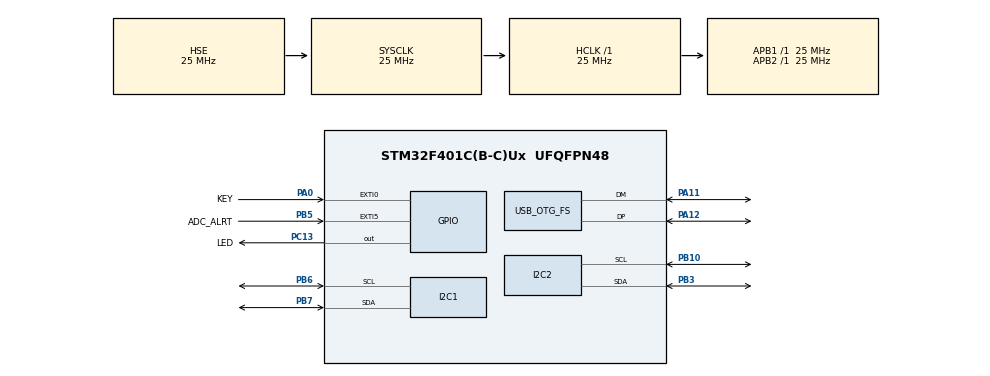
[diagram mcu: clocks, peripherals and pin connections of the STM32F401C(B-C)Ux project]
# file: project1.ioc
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I2C1.I2C_Mode=I2C_Fast
I2C2.I2C_Mode=I2C_Fast
Mcu.Family=STM32F4
Mcu.Name=STM32F401C(B-C)Ux
Mcu.Package=UFQFPN48
NVIC.EXTI0_IRQn=true\:2\:0\:true\:false\:true\:true\:true\:true
NVIC.EXTI9_5_IRQn=true\:3\:0\:true\:false\:true\:true\:true\:false
NVIC.I2C1_ER_IRQn=true\:0\:0\:true\:false\:true\:true\:true\:true
NVIC.I2C2_ER_IRQn=true\:0\:0\:false\:false\:true\:true\:true\:true
NVIC.OTG_FS_IRQn=true\:0\:0\:false\:false\:true\:false\:true\:true
NVIC.PriorityGroup=NVIC_PRIORITYGROUP_4
PA0-WKUP.GPIO_Label=KEY
PA0-WKUP.GPIO_ModeDefaultEXTI=GPIO_MODE_IT_FALLING
PA0-WKUP.GPIO_PuPd=GPIO_PULLUP
PA0-WKUP.Signal=GPXTI0
PA11.Mode=Device_Only
PA11.Signal=USB_OTG_FS_DM
PA12.Mode=Device_Only
PA12.Signal=USB_OTG_FS_DP
PB10.GPIO_Pu=GPIO_PULLUP
PB10.Mode=I2C
PB10.Signal=I2C2_SCL
PB3.GPIO_Pu=GPIO_PULLUP
PB3.Mode=I2C
PB3.Signal=I2C2_SDA
PB5.GPIO_Label=ADC_ALRT
PB5.GPIO_ModeDefaultEXTI=GPIO_MODE_IT_RISING
PB5.GPIO_PuPd=GPIO_PULLUP
PB5.Signal=GPXTI5
PB6.GPIO_Pu=GPIO_PULLUP
PB6.Mode=I2C
PB6.Signal=I2C1_SCL
PB7.GPIO_Pu=GPIO_PULLUP
PB7.Mode=I2C
PB7.Signal=I2C1_SDA
PC13-ANTI_TAMP.GPIO_Label=LED
PC13-ANTI_TAMP.PinState=GPIO_PIN_SET
PC13-ANTI_TAMP.Signal=GPIO_Output
PH0\ -\ OSC_IN.Mode=HSE-External-Oscillator
PH0\ -\ OSC_IN.Signal=RCC_OSC_IN
PH1\ -\ OSC_OUT.Mode=HSE-External-Oscillator
PH1\ -\ OSC_OUT.Signal=RCC_OSC_OUT
ProjectManager.HeapSize=0x600
ProjectManager.StackSize=0x400
ProjectManager.TargetToolchain=STM32CubeIDE
RCC.48MHZClocksFreq_Value=48000000
RCC.AHBFreq_Value=25000000
RCC.APB1Freq_Value=25000000
RCC.APB1TimFreq_Value=25000000
RCC.APB2Freq_Value=25000000
RCC.APB2TimFreq_Value=25000000
RCC.CortexFreq_Value=25000000
RCC.HCLKFreq_Value=25000000
RCC.HSE_VALUE=25000000
RCC.HSI_VALUE=16000000
RCC.LSE_VALUE=32768
RCC.PLLM=15
RCC.PLLN=144
RCC.PLLQ=5
RCC.SYSCLKFreq_VALUE=25000000
RCC.SYSCLKSource=RCC_SYSCLKSOURCE_HSE
RCC.VCOOutputFreq_Value=240000000
USB_DEVICE.CLASS_NAME_FS=CDC
USB_DEVICE.VirtualMode=Cdc
USB_DEVICE.VirtualModeFS=Cdc_FS
USB_OTG_FS.VirtualMode=Device_Only
VP_USB_DEVICE_VS_USB_DEVICE_CDC_FS.Mode=CDC_FS
board=custom

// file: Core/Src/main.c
/* USER CODE BEGIN Header */
/**
  ******************************************************************************
  * @file           : main.c
  * @brief          : Main program body
  ******************************************************************************
  * @attention
  *
  * Copyright (c) 2025 STMicroelectronics.
  * All rights reserved.
  *
  * This software is licensed under terms that can be found in the LICENSE file
  * in the root directory of this software component.
  * If no LICENSE file comes with this software, it is provided AS-IS.
  *
  ******************************************************************************
  */
/* USER CODE END Header */
#include "main.h"
#include "usb_device.h"

/* USER CODE BEGIN Includes */
#include "ADS1115.h"
#include "usbd_cdc_if.h"
/* USER CODE END Includes */

/* USER CODE BEGIN PM */
volatile char TXBuffer[1024];
volatile char RXBuffer[1024];

volatile states_t Stat = {-20000,20000,0,0};
volatile packet_t Packet = {0,"XXX\n"};
volatile packet_t* Pack = &Packet;
/* USER CODE END PM */

I2C_HandleTypeDef hi2c1;
I2C_HandleTypeDef hi2c2;

/* USER CODE BEGIN PV */
ads1115_t ads1;
/* USER CODE END PV */

void SystemClock_Config(void);
static void MX_GPIO_Init(void);
static void MX_I2C1_Init(void);
static void MX_I2C2_Init(void);
/* USER CODE BEGIN PFP */
static void ADS_INIT(ads1115_t* ads);
static void OLED_INIT(void);
/* USER CODE END PFP */

int main(void)
{

  /* MCU Configuration--------------------------------------------------------*/

  /* Reset of all peripherals, Initializes the Flash interface and the Systick. */
  HAL_Init();

  /* Configure the system clock */
  SystemClock_Config();

  /* Initialize all configured peripherals */
  MX_GPIO_Init();
  MX_I2C1_Init();
  MX_USB_DEVICE_Init();
  MX_I2C2_Init();
  /* USER CODE BEGIN 2 */
  OLED_INIT();
  ADS_INIT(&ads1);
  HAL_NVIC_EnableIRQ(ADC_ALRT_EXTI_IRQn);
  /* USER CODE END 2 */

  /* Infinite loop */
  /* USER CODE BEGIN WHILE */
  while (1)
  {
      char msg[12];
      snprintf(msg, 12, "%f", Stat.Vpkpk);
      ssd1306_FillRectangle(0,20,128,32, Black);
      ssd1306_SetCursor(0,20);
      ssd1306_WriteString(msg,Font_7x10,White);
      ssd1306_UpdateScreen();
      Stat.max = 0;
      Stat.min = 0;
    print(msg);
    Stat.max = -20000;
    Stat.min = 20000;
      HAL_Delay(100);
    /* USER CODE END WHILE */

  }
}

void SystemClock_Config(void)
{
  RCC_OscInitTypeDef RCC_OscInitStruct = {0};
  RCC_ClkInitTypeDef RCC_ClkInitStruct = {0};

  /** Configure the main internal regulator output voltage
  */
  __HAL_RCC_PWR_CLK_ENABLE();
  __HAL_PWR_VOLTAGESCALING_CONFIG(PWR_REGULATOR_VOLTAGE_SCALE2);

  /** Initializes the RCC Oscillators according to the specified parameters
  * in the RCC_OscInitTypeDef structure.
  */
  RCC_OscInitStruct.OscillatorType = RCC_OSCILLATORTYPE_HSE;
  RCC_OscInitStruct.HSEState = RCC_HSE_ON;
  RCC_OscInitStruct.PLL.PLLState = RCC_PLL_ON;
  RCC_OscInitStruct.PLL.PLLSource = RCC_PLLSOURCE_HSE;
  RCC_OscInitStruct.PLL.PLLM = 15;
  RCC_OscInitStruct.PLL.PLLN = 144;
  RCC_OscInitStruct.PLL.PLLP = RCC_PLLP_DIV2;
  RCC_OscInitStruct.PLL.PLLQ = 5;
  if (HAL_RCC_OscConfig(&RCC_OscInitStruct) != HAL_OK)
  {
    Error_Handler();
  }

  /** Initializes the CPU, AHB and APB buses clocks
  */
  RCC_ClkInitStruct.ClockType = RCC_CLOCKTYPE_HCLK|RCC_CLOCKTYPE_SYSCLK
                              |RCC_CLOCKTYPE_PCLK1|RCC_CLOCKTYPE_PCLK2;
  RCC_ClkInitStruct.SYSCLKSource = RCC_SYSCLKSOURCE_HSE;
  RCC_ClkInitStruct.AHBCLKDivider = RCC_SYSCLK_DIV1;
  RCC_ClkInitStruct.APB1CLKDivider = RCC_HCLK_DIV1;
  RCC_ClkInitStruct.APB2CLKDivider = RCC_HCLK_DIV1;

  if (HAL_RCC_ClockConfig(&RCC_ClkInitStruct, FLASH_LATENCY_0) != HAL_OK)
  {
    Error_Handler();
  }
}

static void MX_I2C1_Init(void)
{

  hi2c1.Instance = I2C1;
  hi2c1.Init.ClockSpeed = 400000;
  hi2c1.Init.DutyCycle = I2C_DUTYCYCLE_2;
  hi2c1.Init.OwnAddress1 = 0;
  hi2c1.Init.AddressingMode = I2C_ADDRESSINGMODE_7BIT;
  hi2c1.Init.DualAddressMode = I2C_DUALADDRESS_DISABLE;
  hi2c1.Init.OwnAddress2 = 0;
  hi2c1.Init.GeneralCallMode = I2C_GENERALCALL_DISABLE;
  hi2c1.Init.NoStretchMode = I2C_NOSTRETCH_DISABLE;
  if (HAL_I2C_Init(&hi2c1) != HAL_OK)
  {
    Error_Handler();
  }

}

static void MX_I2C2_Init(void)
{

  hi2c2.Instance = I2C2;
  hi2c2.Init.ClockSpeed = 400000;
  hi2c2.Init.DutyCycle = I2C_DUTYCYCLE_2;
  hi2c2.Init.OwnAddress1 = 0;
  hi2c2.Init.AddressingMode = I2C_ADDRESSINGMODE_7BIT;
  hi2c2.Init.DualAddressMode = I2C_DUALADDRESS_DISABLE;
  hi2c2.Init.OwnAddress2 = 0;
  hi2c2.Init.GeneralCallMode = I2C_GENERALCALL_DISABLE;
  hi2c2.Init.NoStretchMode = I2C_NOSTRETCH_DISABLE;
  if (HAL_I2C_Init(&hi2c2) != HAL_OK)
  {
    Error_Handler();
  }

}

static void MX_GPIO_Init(void)
{
  GPIO_InitTypeDef GPIO_InitStruct = {0};

  /* GPIO Ports Clock Enable */
  __HAL_RCC_GPIOC_CLK_ENABLE();
  __HAL_RCC_GPIOH_CLK_ENABLE();
  __HAL_RCC_GPIOA_CLK_ENABLE();
  __HAL_RCC_GPIOB_CLK_ENABLE();

  /*Configure GPIO pin Output Level */
  HAL_GPIO_WritePin(LED_GPIO_Port, LED_Pin, GPIO_PIN_SET);

  /*Configure GPIO pin : LED_Pin */
  GPIO_InitStruct.Pin = LED_Pin;
  GPIO_InitStruct.Mode = GPIO_MODE_OUTPUT_PP;
  GPIO_InitStruct.Pull = GPIO_NOPULL;
  GPIO_InitStruct.Speed = GPIO_SPEED_FREQ_LOW;
  HAL_GPIO_Init(LED_GPIO_Port, &GPIO_InitStruct);

  /*Configure GPIO pin : KEY_Pin */
  GPIO_InitStruct.Pin = KEY_Pin;
  GPIO_InitStruct.Mode = GPIO_MODE_IT_FALLING;
  GPIO_InitStruct.Pull = GPIO_PULLUP;
  HAL_GPIO_Init(KEY_GPIO_Port, &GPIO_InitStruct);

  /*Configure GPIO pin : ADC_ALRT_Pin */
  GPIO_InitStruct.Pin = ADC_ALRT_Pin;
  GPIO_InitStruct.Mode = GPIO_MODE_IT_RISING;
  GPIO_InitStruct.Pull = GPIO_PULLUP;
  HAL_GPIO_Init(ADC_ALRT_GPIO_Port, &GPIO_InitStruct);

  /* EXTI interrupt init*/
  HAL_NVIC_SetPriority(EXTI0_IRQn, 2, 0);
  HAL_NVIC_EnableIRQ(EXTI0_IRQn);

  HAL_NVIC_SetPriority(EXTI9_5_IRQn, 3, 0);

}

/* USER CODE BEGIN 4 */
static void ADS_INIT(ads1115_t* ads) {
    ads->hi2c = &hi2c1;
    ads->I2C_Addr = 0x48;
    ads->OS = 0x0;
    ads->MUX = CONFIG_MUX_COMM_0;
    ads->PGA = CONFIG_PGA_FSR_4;
    ads->MODE = CONFIG_MODE_CONT;
    ads->DR = CONFIG_DR_860;
    ads->COMP_MODE = CONFIG_COMP_MODE_WINDOW;
    ads->COMP_POL = CONFIG_COMP_POL_ALOW;
    ads->COMP_LAT = CONFIG_COMP_LAT_OFF;
    ads->COMP_QUE = CONFIG_COMP_QUE_1;
    ads->Hi_Thres[0] = 0x80;
    ads->Hi_Thres[1] = 0x00;
    ads->Lo_Thres[0] = 0x00;
    ads->Lo_Thres[1] = 0x00;
    ads->scale = 0.125;

    if (ADS1115_init(ads) != HAL_OK){print("HAL ERROR\n");};
}

static void OLED_INIT(void){
    ssd1306_Init();
    ssd1306_SetDisplayOn(1);
    ssd1306_Fill(Black);
    ssd1306_SetCursor(0,0);
    ssd1306_WriteString("V     [mV]", Font_16x15, White);
    ssd1306_SetCursor(10,10);
    ssd1306_WriteString("pk-pk", Font_6x8, White);
    ssd1306_UpdateScreen();
}

void print(char* msg){
    strncpy(TXBuffer, msg, 1024);
    CDC_Transmit_FS(TXBuffer, strlen(TXBuffer));
}
/* USER CODE END 4 */

void Error_Handler(void)
{
  __disable_irq();
  while (1)
  {
  }
}
